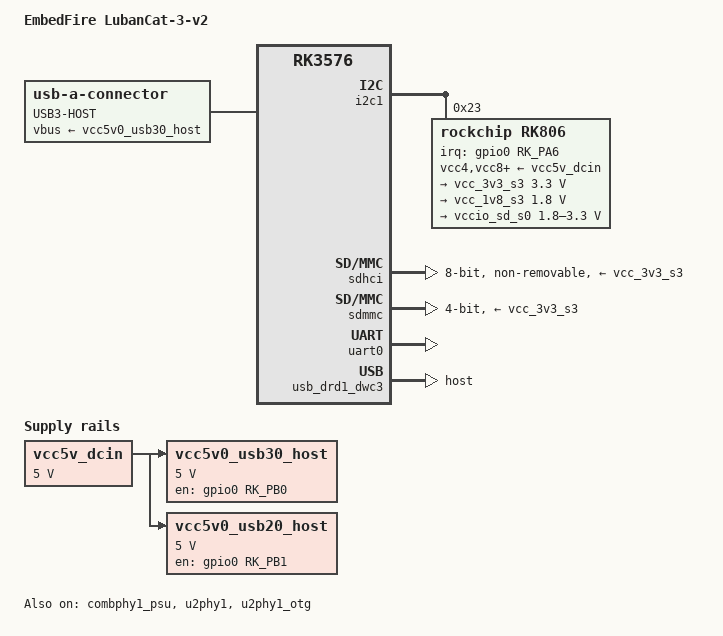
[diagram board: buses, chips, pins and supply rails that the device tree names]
// SPDX-License-Identifier: (GPL-2.0+ OR MIT)
/*
 * Copyright (c) 2026 Rockchip Electronics Co., Ltd.
 * Copyright (c) 2026 EmbedFire <embedfire@embedfire.com>
 */

/dts-v1/;

#include <dt-bindings/gpio/gpio.h>
#include <dt-bindings/pinctrl/rockchip.h>
#include "rk3576.dtsi"

/ {
	model = "EmbedFire LubanCat-3-v2";
	compatible = "embedfire,rk3576-lubancat-3-v2", "rockchip,rk3576";

	aliases {
		mmc0 = &sdmmc;
		mmc1 = &sdhci;
	};

	chosen {
		stdout-path = "serial0:1500000n8";
	};

	vcc5v_dcin: regulator-vcc5v-dcin {
		compatible = "regulator-fixed";
		regulator-name = "vcc5v_dcin";
		regulator-always-on;
		regulator-boot-on;
		regulator-min-microvolt = <5000000>;
		regulator-max-microvolt = <5000000>;
	};

	usb3_host: connector-usb3-host {
		compatible = "usb-a-connector";
		label = "USB3-HOST";
		vbus-supply = <&vcc5v0_usb30_host>;
	};

	vcc5v0_usb30_host: regulator-vcc5v0-usb30-host {
		compatible = "regulator-fixed";
		regulator-name = "vcc5v0_usb30_host";
		regulator-min-microvolt = <5000000>;
		regulator-max-microvolt = <5000000>;
		regulator-always-on;
		regulator-boot-on;
		enable-active-high;
		gpio = <&gpio0 RK_PB0 GPIO_ACTIVE_HIGH>;
		vin-supply = <&vcc5v_dcin>;
	};

	vcc5v0_usb20_host: regulator-vcc5v0-usb20-host {
		compatible = "regulator-fixed";
		regulator-name = "vcc5v0_usb20_host";
		regulator-min-microvolt = <5000000>;
		regulator-max-microvolt = <5000000>;
		regulator-always-on;
		regulator-boot-on;
		enable-active-high;
		gpio = <&gpio0 RK_PB1 GPIO_ACTIVE_HIGH>;
		vin-supply = <&vcc5v_dcin>;
	};
};

&combphy1_psu {
	status = "okay";
};

&i2c1 {
	pinctrl-names = "default";
	pinctrl-0 = <&i2c1m0_xfer>;
	status = "okay";

	rk806: pmic@23 {
		compatible = "rockchip,rk806";
		reg = <0x23>;
		interrupt-parent = <&gpio0>;
		interrupts = <RK_PA6 IRQ_TYPE_LEVEL_LOW>;
		pinctrl-names = "default";
		pinctrl-0 = <&pmic_int>;
		system-power-controller;
		vcc4-supply = <&vcc5v_dcin>;
		vcc8-supply = <&vcc5v_dcin>;
		vcc12-supply = <&vcc5v_dcin>;

		regulators {
			vcc_3v3_s3: dcdc-reg4 {
				regulator-name = "vcc_3v3_s3";
				regulator-always-on;
				regulator-boot-on;
				regulator-min-microvolt = <3300000>;
				regulator-max-microvolt = <3300000>;
			};

			vcc_1v8_s3: dcdc-reg8 {
				regulator-name = "vcc_1v8_s3";
				regulator-always-on;
				regulator-boot-on;
				regulator-min-microvolt = <1800000>;
				regulator-max-microvolt = <1800000>;
			};

			vccio_sd_s0: pldo-reg5 {
				regulator-name = "vccio_sd_s0";
				regulator-always-on;
				regulator-boot-on;
				regulator-min-microvolt = <1800000>;
				regulator-max-microvolt = <3300000>;
			};
		};
	};
};

&pinctrl {
	pmic {
		pmic_int: pmic-int {
			rockchip,pins = <0 RK_PA6 RK_FUNC_GPIO &pcfg_pull_up>;
		};
	};
};

&sdhci {
	bus-width = <8>;
	max-frequency = <200000000>;
	mmc-hs400-1_8v;
	mmc-hs400-enhanced-strobe;
	no-sdio;
	no-sd;
	non-removable;
	vmmc-supply = <&vcc_3v3_s3>;
	vqmmc-supply = <&vcc_1v8_s3>;
	status = "okay";
};

&sdmmc {
	bus-width = <4>;
	cap-sd-highspeed;
	disable-wp;
	max-frequency = <200000000>;
	no-mmc;
	no-sdio;
	pinctrl-names = "default";
	pinctrl-0 = <&sdmmc0_clk &sdmmc0_cmd &sdmmc0_det &sdmmc0_bus4>;
	sd-uhs-sdr104;
	vmmc-supply = <&vcc_3v3_s3>;
	vqmmc-supply = <&vccio_sd_s0>;
	status = "okay";
};

&u2phy1 {
	status = "okay";
};

&u2phy1_otg {
	phy-supply = <&vcc5v0_usb20_host>;
	status = "okay";
};

&uart0 {
	pinctrl-names = "default";
	pinctrl-0 = <&uart0m0_xfer>;
	status = "okay";
};

&usb_drd1_dwc3 {
	dr_mode = "host";
	status = "okay";
};
